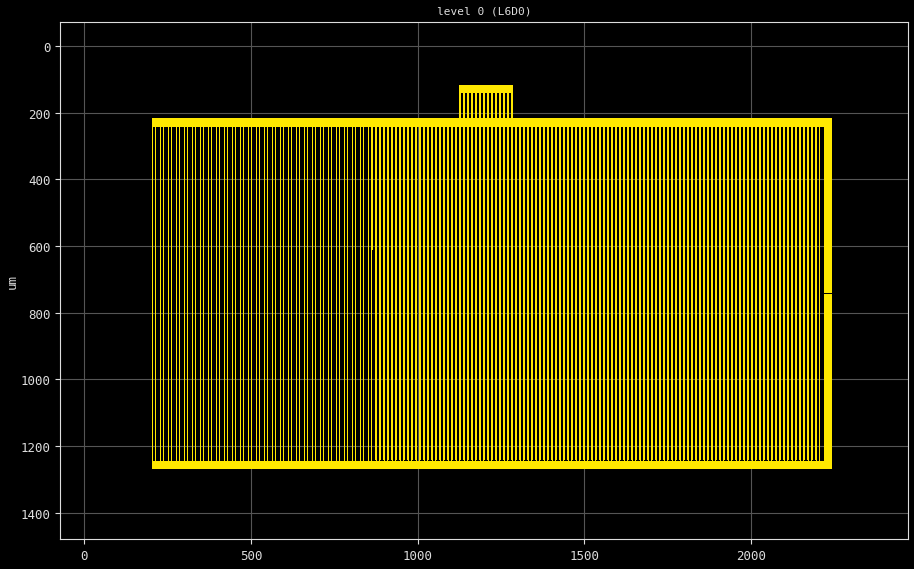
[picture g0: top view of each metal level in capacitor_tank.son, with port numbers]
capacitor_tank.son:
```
FTYP SONPROJ 12 ! Sonnet Project File
VER 14.52
HEADER
LIC caltech1.1.46475
DAT 08/10/2018 02:55:32
BUILT_BY_CREATED dxf 14.52 08/10/2018 02:20:45
BUILT_BY_SAVED xgeom 14.52
MDATE 08/10/2018 02:55:32
HDATE 08/10/2018 02:55:32
ANN Created by dxfgeo, Sonnet Software Inc.
END HEADER
DIM
FREQ MHZ
IND NH
LNG UM
ANG DEG
CON /OH
CAP PF
RES OH
END DIM
CONTROL
ABS
OPTIONS  -d 
SPEED 0
CACHE_ABS 1
TARG_ABS 300
Q_ACC N
END CONTROL
GEO
TMET "Lossless" 0 SUP 0 0 0 0
BMET "Lossless" 0 SUP 0 0 0 0
MET "Unknown_metal" 1 NOR INF 0 0 
BOX 1 2400 1408 512 512 20 0
      0 1 1 0 0 0 0 "Unnamed"
      0 1 1 0 0 0 0 "Unnamed"
TECHLAY METAL L6D0 L6D0 -1 0 
0 0 0 N 0 1 1 100 100 0 0 0 Y
END
END
LORGN 0 1408 U 
NUM 13
0 85 0 N 11 1 1 100 100 0 0 0 Y
TLAYNAM L6D0 INH
1127.95 215.3
1127.95 140.3
1123.95 140.3
1123.95 115.3
1285.95 115.3
1285.95 140.3
1281.95 140.3
1281.95 215.3
1279.95 215.3
1279.95 140.3
1273.95 140.3
1273.95 215.3
1271.95 215.3
1271.95 140.3
1265.95 140.3
1265.95 215.3
1263.95 215.3
1263.95 140.3
1257.95 140.3
1257.95 215.3
1255.95 215.3
1255.95 140.3
1249.95 140.3
1249.95 215.3
1247.95 215.3
1247.95 140.3
1241.95 140.3
1241.95 215.3
1239.95 215.3
1239.95 140.3
1233.95 140.3
1233.95 215.3
1231.95 215.3
1231.95 140.3
1225.95 140.3
1225.95 215.3
1223.95 215.3
1223.95 140.3
1217.95 140.3
1217.95 215.3
1215.95 215.3
1215.95 140.3
1209.95 140.3
1209.95 215.3
1207.95 215.3
1207.95 140.3
1201.95 140.3
1201.95 215.3
1199.95 215.3
1199.95 140.3
1193.95 140.3
1193.95 215.3
1191.95 215.3
1191.95 140.3
1185.95 140.3
1185.95 215.3
1183.95 215.3
1183.95 140.3
1177.95 140.3
1177.95 215.3
1175.95 215.3
1175.95 140.3
1169.95 140.3
1169.95 215.3
1167.95 215.3
1167.95 140.3
1161.95 140.3
1161.95 215.3
1159.95 215.3
1159.95 140.3
1153.95 140.3
1153.95 215.3
1151.95 215.3
1151.95 140.3
1145.95 140.3
1145.95 215.3
1143.95 215.3
1143.95 140.3
1137.95 140.3
1137.95 215.3
1135.95 215.3
1135.95 140.3
1129.95 140.3
1129.95 215.3
1127.95 215.3
END
0 193 0 N 12 1 1 100 100 0 0 0 Y
TLAYNAM L6D0 INH
871.95 1241.8
871.95 241.8
865.95 241.8
865.95 610.6041992
863.95 610.6041992
863.95 241.8
203.95 241.8
203.95 216.8
1123.95 216.8
1123.95 141.8
1125.95 141.8
1125.95 216.8
1131.95 216.8
1131.95 141.8
1133.95 141.8
1133.95 216.8
1139.95 216.8
1139.95 141.8
1141.95 141.8
1141.95 216.8
1147.95 216.8
1147.95 141.8
1149.95 141.8
1149.95 216.8
1155.95 216.8
1155.95 141.8
1157.95 141.8
1157.95 216.8
1163.95 216.8
1163.95 141.8
1165.95 141.8
1165.95 216.8
1171.95 216.8
1171.95 141.8
1173.95 141.8
1173.95 216.8
1179.95 216.8
1179.95 241.8
1177.95 241.8
1177.95 1241.8
1175.95 1241.8
1175.95 241.8
1169.95 241.8
1169.95 1241.8
1167.95 1241.8
1167.95 241.8
1161.95 241.8
1161.95 1241.8
1159.95 1241.8
1159.95 241.8
1153.95 241.8
1153.95 1241.8
1151.95 1241.8
1151.95 241.8
1145.95 241.8
1145.95 1241.8
1143.95 1241.8
1143.95 241.8
1137.95 241.8
1137.95 1241.8
1135.95 1241.8
1135.95 241.8
1129.95 241.8
1129.95 1241.8
1127.95 1241.8
1127.95 241.8
1121.95 241.8
1121.95 1241.8
1119.95 1241.8
1119.95 241.8
1113.95 241.8
1113.95 1241.8
1111.95 1241.8
1111.95 241.8
1105.95 241.8
1105.95 1241.8
1103.95 1241.8
1103.95 241.8
1097.95 241.8
1097.95 1241.8
1095.95 1241.8
1095.95 241.8
1089.95 241.8
1089.95 1241.8
1087.95 1241.8
1087.95 241.8
1081.95 241.8
1081.95 1241.8
1079.95 1241.8
1079.95 241.8
1073.95 241.8
1073.95 1241.8
1071.95 1241.8
1071.95 241.8
1065.95 241.8
1065.95 1241.8
1063.95 1241.8
1063.95 241.8
1057.95 241.8
1057.95 1241.8
1055.95 1241.8
1055.95 241.8
1049.95 241.8
1049.95 1241.8
1047.95 1241.8
1047.95 241.8
1041.95 241.8
1041.95 1241.8
1039.95 1241.8
1039.95 241.8
1033.95 241.8
1033.95 1241.8
1031.95 1241.8
1031.95 241.8
1025.95 241.8
1025.95 1241.8
1023.95 1241.8
1023.95 241.8
1017.95 241.8
1017.95 1241.8
1015.95 1241.8
1015.95 241.8
1009.95 241.8
1009.95 1241.8
1007.95 1241.8
1007.95 241.8
1001.95 241.8
1001.95 1241.8
999.95 1241.8
999.95 241.8
993.95 241.8
993.95 1241.8
991.95 1241.8
991.95 241.8
985.95 241.8
985.95 1241.8
983.95 1241.8
983.95 241.8
977.95 241.8
977.95 1241.8
975.95 1241.8
975.95 241.8
969.95 241.8
969.95 1241.8
967.95 1241.8
967.95 241.8
961.95 241.8
961.95 1241.8
959.95 1241.8
959.95 241.8
953.95 241.8
953.95 1241.8
951.95 1241.8
951.95 241.8
945.95 241.8
945.95 1241.8
943.95 1241.8
943.95 241.8
937.95 241.8
937.95 1241.8
935.95 1241.8
935.95 241.8
929.95 241.8
929.95 1241.8
927.95 1241.8
927.95 241.8
921.95 241.8
921.95 1241.8
919.95 1241.8
919.95 241.8
913.95 241.8
913.95 1241.8
911.95 1241.8
911.95 241.8
905.95 241.8
905.95 1241.8
903.95 1241.8
903.95 241.8
897.95 241.8
897.95 1241.8
895.95 1241.8
895.95 241.8
889.95 241.8
889.95 1241.8
887.95 1241.8
887.95 241.8
881.95 241.8
881.95 1241.8
879.95 1241.8
879.95 241.8
873.95 241.8
873.95 1241.8
871.95 1241.8
END
0 193 0 N 13 1 1 100 100 0 0 0 Y
TLAYNAM L6D0 INH
1183.95 1241.8
1183.95 241.8
1179.95 241.8
1179.95 141.8
1181.95 141.8
1181.95 216.8
1187.95 216.8
1187.95 141.8
1189.95 141.8
1189.95 216.8
1195.95 216.8
1195.95 141.8
1197.95 141.8
1197.95 216.8
1203.95 216.8
1203.95 141.8
1205.95 141.8
1205.95 216.8
1211.95 216.8
1211.95 141.8
1213.95 141.8
1213.95 216.8
1219.95 216.8
1219.95 141.8
1221.95 141.8
1221.95 216.8
1227.95 216.8
1227.95 141.8
1229.95 141.8
1229.95 216.8
1235.95 216.8
1235.95 141.8
1237.95 141.8
1237.95 216.8
1243.95 216.8
1243.95 141.8
1245.95 141.8
1245.95 216.8
1251.95 216.8
1251.95 141.8
1253.95 141.8
1253.95 216.8
1259.95 216.8
1259.95 141.8
1261.95 141.8
1261.95 216.8
1267.95 216.8
1267.95 141.8
1269.95 141.8
1269.95 216.8
1275.95 216.8
1275.95 141.8
1277.95 141.8
1277.95 216.8
1283.95 216.8
1283.95 141.8
1285.95 141.8
1285.95 216.8
1449.95 216.8
1449.95 1241.8
1447.95 1241.8
1447.95 241.8
1441.95 241.8
1441.95 1241.8
1439.95 1241.8
1439.95 241.8
1433.95 241.8
1433.95 1241.8
1431.95 1241.8
1431.95 241.8
1425.95 241.8
1425.95 1241.8
1423.95 1241.8
1423.95 241.8
1417.95 241.8
1417.95 1241.8
1415.95 1241.8
1415.95 241.8
1409.95 241.8
1409.95 1241.8
1407.95 1241.8
1407.95 241.8
1401.95 241.8
1401.95 1241.8
1399.95 1241.8
1399.95 241.8
1393.95 241.8
1393.95 1241.8
1391.95 1241.8
1391.95 241.8
1385.95 241.8
1385.95 1241.8
1383.95 1241.8
1383.95 241.8
1377.95 241.8
1377.95 1241.8
1375.95 1241.8
1375.95 241.8
1369.95 241.8
1369.95 1241.8
1367.95 1241.8
1367.95 241.8
1361.95 241.8
1361.95 1241.8
1359.95 1241.8
1359.95 241.8
1353.95 241.8
1353.95 1241.8
1351.95 1241.8
1351.95 241.8
1345.95 241.8
1345.95 1241.8
1343.95 1241.8
1343.95 241.8
1337.95 241.8
1337.95 1241.8
1335.95 1241.8
1335.95 241.8
1329.95 241.8
1329.95 1241.8
1327.95 1241.8
1327.95 241.8
1321.95 241.8
1321.95 1241.8
1319.95 1241.8
1319.95 241.8
1313.95 241.8
1313.95 1241.8
1311.95 1241.8
1311.95 241.8
1305.95 241.8
1305.95 1241.8
1303.95 1241.8
1303.95 241.8
1297.95 241.8
1297.95 1241.8
1295.95 1241.8
1295.95 241.8
1289.95 241.8
1289.95 1241.8
1287.95 1241.8
1287.95 241.8
1281.95 241.8
1281.95 1241.8
1279.95 1241.8
1279.95 241.8
1273.95 241.8
1273.95 1241.8
1271.95 1241.8
1271.95 241.8
1265.95 241.8
1265.95 1241.8
1263.95 1241.8
1263.95 241.8
1257.95 241.8
1257.95 1241.8
1255.95 1241.8
1255.95 241.8
1249.95 241.8
1249.95 1241.8
1247.95 1241.8
1247.95 241.8
1241.95 241.8
1241.95 1241.8
1239.95 1241.8
1239.95 241.8
1233.95 241.8
1233.95 1241.8
1231.95 1241.8
1231.95 241.8
1225.95 241.8
1225.95 1241.8
1223.95 1241.8
1223.95 241.8
1217.95 241.8
1217.95 1241.8
1215.95 1241.8
1215.95 241.8
1209.95 241.8
1209.95 1241.8
1207.95 1241.8
1207.95 241.8
1201.95 241.8
1201.95 1241.8
1199.95 1241.8
1199.95 241.8
1193.95 241.8
1193.95 1241.8
1191.95 1241.8
1191.95 241.8
1185.95 241.8
1185.95 1241.8
1183.95 1241.8
END
0 193 0 N 14 1 1 100 100 0 0 0 Y
TLAYNAM L6D0 INH
1455.95 1241.8
1455.95 241.8
1449.95 241.8
1449.95 216.8
1831.95 216.8
1831.95 241.8
1825.95 241.8
1825.95 1241.8
1823.95 1241.8
1823.95 241.8
1817.95 241.8
1817.95 1241.8
1815.95 1241.8
1815.95 241.8
1809.95 241.8
1809.95 1241.8
1807.95 1241.8
1807.95 241.8
1801.95 241.8
1801.95 1241.8
1799.95 1241.8
1799.95 241.8
1793.95 241.8
1793.95 1241.8
1791.95 1241.8
1791.95 241.8
1785.95 241.8
1785.95 1241.8
1783.95 1241.8
1783.95 241.8
1777.95 241.8
1777.95 1241.8
1775.95 1241.8
1775.95 241.8
1769.95 241.8
1769.95 1241.8
1767.95 1241.8
1767.95 241.8
1761.95 241.8
1761.95 1241.8
1759.95 1241.8
1759.95 241.8
1753.95 241.8
1753.95 1241.8
1751.95 1241.8
1751.95 241.8
1745.95 241.8
1745.95 1241.8
1743.95 1241.8
1743.95 241.8
1737.95 241.8
1737.95 1241.8
1735.95 1241.8
1735.95 241.8
1729.95 241.8
1729.95 1241.8
1727.95 1241.8
1727.95 241.8
1721.95 241.8
1721.95 1241.8
1719.95 1241.8
1719.95 241.8
1713.95 241.8
1713.95 1241.8
1711.95 1241.8
1711.95 241.8
1705.95 241.8
1705.95 1241.8
1703.95 1241.8
1703.95 241.8
1697.95 241.8
1697.95 1241.8
1695.95 1241.8
1695.95 241.8
1689.95 241.8
1689.95 1241.8
1687.95 1241.8
1687.95 241.8
1681.95 241.8
1681.95 1241.8
1679.95 1241.8
1679.95 241.8
1673.95 241.8
1673.95 1241.8
1671.95 1241.8
1671.95 241.8
1665.95 241.8
1665.95 1241.8
1663.95 1241.8
1663.95 241.8
1657.95 241.8
1657.95 1241.8
1655.95 1241.8
1655.95 241.8
1649.95 241.8
1649.95 1241.8
1647.95 1241.8
1647.95 241.8
1641.95 241.8
1641.95 1241.8
1639.95 1241.8
1639.95 241.8
1633.95 241.8
1633.95 1241.8
1631.95 1241.8
1631.95 241.8
1625.95 241.8
1625.95 1241.8
1623.95 1241.8
1623.95 241.8
1617.95 241.8
1617.95 1241.8
1615.95 1241.8
1615.95 241.8
1609.95 241.8
1609.95 1241.8
1607.95 1241.8
1607.95 241.8
1601.95 241.8
1601.95 1241.8
1599.95 1241.8
1599.95 241.8
1593.95 241.8
1593.95 1241.8
1591.95 1241.8
1591.95 241.8
1585.95 241.8
1585.95 1241.8
1583.95 1241.8
1583.95 241.8
1577.95 241.8
1577.95 1241.8
1575.95 1241.8
1575.95 241.8
1569.95 241.8
1569.95 1241.8
1567.95 1241.8
1567.95 241.8
1561.95 241.8
1561.95 1241.8
1559.95 1241.8
1559.95 241.8
1553.95 241.8
1553.95 1241.8
1551.95 1241.8
1551.95 241.8
1545.95 241.8
1545.95 1241.8
1543.95 1241.8
1543.95 241.8
1537.95 241.8
1537.95 1241.8
1535.95 1241.8
1535.95 241.8
1529.95 241.8
1529.95 1241.8
1527.95 1241.8
1527.95 241.8
1521.95 241.8
1521.95 1241.8
1519.95 1241.8
1519.95 241.8
1513.95 241.8
1513.95 1241.8
1511.95 1241.8
1511.95 241.8
1505.95 241.8
1505.95 1241.8
1503.95 1241.8
1503.95 241.8
1497.95 241.8
1497.95 1241.8
1495.95 1241.8
1495.95 241.8
1489.95 241.8
1489.95 1241.8
1487.95 1241.8
1487.95 241.8
1481.95 241.8
1481.95 1241.8
1479.95 1241.8
1479.95 241.8
1473.95 241.8
1473.95 1241.8
1471.95 1241.8
1471.95 241.8
1465.95 241.8
1465.95 1241.8
1463.95 1241.8
1463.95 241.8
1457.95 241.8
1457.95 1241.8
1455.95 1241.8
END
0 193 0 N 15 1 1 100 100 0 0 0 Y
TLAYNAM L6D0 INH
1831.95 1241.8
1831.95 216.8
2243.45 216.8
2243.45 741.55
2218.45 741.55
2218.45 241.8
2201.95 241.8
2201.95 1241.8
2199.95 1241.8
2199.95 241.8
2193.95 241.8
2193.95 1241.8
2191.95 1241.8
2191.95 241.8
2185.95 241.8
2185.95 1241.8
2183.95 1241.8
2183.95 241.8
2177.95 241.8
2177.95 1241.8
2175.95 1241.8
2175.95 241.8
2169.95 241.8
2169.95 1241.8
2167.95 1241.8
2167.95 241.8
2161.95 241.8
2161.95 1241.8
2159.95 1241.8
2159.95 241.8
2153.95 241.8
2153.95 1241.8
2151.95 1241.8
2151.95 241.8
2145.95 241.8
2145.95 1241.8
2143.95 1241.8
2143.95 241.8
2137.95 241.8
2137.95 1241.8
2135.95 1241.8
2135.95 241.8
2129.95 241.8
2129.95 1241.8
2127.95 1241.8
2127.95 241.8
2121.95 241.8
2121.95 1241.8
2119.95 1241.8
2119.95 241.8
2113.95 241.8
2113.95 1241.8
2111.95 1241.8
2111.95 241.8
2105.95 241.8
2105.95 1241.8
2103.95 1241.8
2103.95 241.8
2097.95 241.8
2097.95 1241.8
2095.95 1241.8
2095.95 241.8
2089.95 241.8
2089.95 1241.8
2087.95 1241.8
2087.95 241.8
2081.95 241.8
2081.95 1241.8
2079.95 1241.8
2079.95 241.8
2073.95 241.8
2073.95 1241.8
2071.95 1241.8
2071.95 241.8
2065.95 241.8
2065.95 1241.8
2063.95 1241.8
2063.95 241.8
2057.95 241.8
2057.95 1241.8
2055.95 1241.8
2055.95 241.8
2049.95 241.8
2049.95 1241.8
2047.95 1241.8
2047.95 241.8
2041.95 241.8
2041.95 1241.8
2039.95 1241.8
2039.95 241.8
2033.95 241.8
2033.95 1241.8
2031.95 1241.8
2031.95 241.8
2025.95 241.8
2025.95 1241.8
2023.95 1241.8
2023.95 241.8
2017.95 241.8
2017.95 1241.8
2015.95 1241.8
2015.95 241.8
2009.95 241.8
2009.95 1241.8
2007.95 1241.8
2007.95 241.8
2001.95 241.8
2001.95 1241.8
1999.95 1241.8
1999.95 241.8
1993.95 241.8
1993.95 1241.8
1991.95 1241.8
1991.95 241.8
1985.95 241.8
1985.95 1241.8
1983.95 1241.8
1983.95 241.8
1977.95 241.8
1977.95 1241.8
1975.95 1241.8
1975.95 241.8
1969.95 241.8
1969.95 1241.8
1967.95 1241.8
1967.95 241.8
1961.95 241.8
1961.95 1241.8
1959.95 1241.8
1959.95 241.8
1953.95 241.8
1953.95 1241.8
1951.95 1241.8
1951.95 241.8
1945.95 241.8
1945.95 1241.8
1943.95 1241.8
1943.95 241.8
1937.95 241.8
1937.95 1241.8
1935.95 1241.8
1935.95 241.8
1929.95 241.8
1929.95 1241.8
1927.95 1241.8
1927.95 241.8
1921.95 241.8
1921.95 1241.8
1919.95 1241.8
1919.95 241.8
1913.95 241.8
1913.95 1241.8
1911.95 1241.8
1911.95 241.8
1905.95 241.8
1905.95 1241.8
1903.95 1241.8
1903.95 241.8
1897.95 241.8
1897.95 1241.8
1895.95 1241.8
1895.95 241.8
1889.95 241.8
1889.95 1241.8
1887.95 1241.8
1887.95 241.8
1881.95 241.8
1881.95 1241.8
1879.95 1241.8
1879.95 241.8
1873.95 241.8
1873.95 1241.8
1871.95 1241.8
1871.95 241.8
1865.95 241.8
1865.95 1241.8
1863.95 1241.8
1863.95 241.8
1857.95 241.8
1857.95 1241.8
1855.95 1241.8
1855.95 241.8
1849.95 241.8
1849.95 1241.8
1847.95 1241.8
1847.95 241.8
1841.95 241.8
1841.95 1241.8
1839.95 1241.8
1839.95 241.8
1833.95 241.8
1833.95 1241.8
1831.95 1241.8
END
0 127 0 N 16 1 1 100 100 0 0 0 Y
TLAYNAM L6D0 INH
203.95 1268.3
203.95 243.3
205.95 243.3
205.95 1243.3
211.95 1243.3
211.95 243.3
213.95 243.3
213.95 1243.3
219.95 1243.3
219.95 243.3
221.95 243.3
221.95 1243.3
227.95 1243.3
227.95 243.3
229.95 243.3
229.95 1243.3
235.95 1243.3
235.95 243.3
237.95 243.3
237.95 1243.3
243.95 1243.3
243.95 243.3
245.95 243.3
245.95 1243.3
251.95 1243.3
251.95 243.3
253.95 243.3
253.95 1243.3
259.95 1243.3
259.95 243.3
261.95 243.3
261.95 1243.3
267.95 1243.3
267.95 243.3
269.95 243.3
269.95 1243.3
275.95 1243.3
275.95 243.3
277.95 243.3
277.95 1243.3
283.95 1243.3
283.95 243.3
285.95 243.3
285.95 1243.3
291.95 1243.3
291.95 243.3
293.95 243.3
293.95 1243.3
299.95 1243.3
299.95 243.3
301.95 243.3
301.95 1243.3
307.95 1243.3
307.95 243.3
309.95 243.3
309.95 1243.3
315.95 1243.3
315.95 243.3
317.95 243.3
317.95 1243.3
323.95 1243.3
323.95 243.3
325.95 243.3
325.95 1243.3
331.95 1243.3
331.95 243.3
333.95 243.3
333.95 1243.3
339.95 1243.3
339.95 243.3
341.95 243.3
341.95 1243.3
347.95 1243.3
347.95 243.3
349.95 243.3
349.95 1243.3
355.95 1243.3
355.95 243.3
357.95 243.3
357.95 1243.3
363.95 1243.3
363.95 243.3
365.95 243.3
365.95 1243.3
371.95 1243.3
371.95 243.3
373.95 243.3
373.95 1243.3
379.95 1243.3
379.95 243.3
381.95 243.3
381.95 1243.3
387.95 1243.3
387.95 243.3
389.95 243.3
389.95 1243.3
395.95 1243.3
395.95 243.3
397.95 243.3
397.95 1243.3
403.95 1243.3
403.95 243.3
405.95 243.3
405.95 1243.3
411.95 1243.3
411.95 243.3
413.95 243.3
413.95 1243.3
419.95 1243.3
419.95 243.3
421.95 243.3
421.95 1243.3
427.95 1243.3
427.95 243.3
429.95 243.3
429.95 1243.3
435.95 1243.3
435.95 243.3
437.95 243.3
437.95 1243.3
443.95 1243.3
443.95 243.3
445.95 243.3
445.95 1243.3
451.95 1243.3
451.95 1268.3
203.95 1268.3
END
0 129 0 N 17 1 1 100 100 0 0 0 Y
TLAYNAM L6D0 INH
451.95 1268.3
451.95 243.3
453.95 243.3
453.95 1243.3
459.95 1243.3
459.95 243.3
461.95 243.3
461.95 1243.3
467.95 1243.3
467.95 243.3
469.95 243.3
469.95 1243.3
475.95 1243.3
475.95 243.3
477.95 243.3
477.95 1243.3
483.95 1243.3
483.95 243.3
485.95 243.3
485.95 1243.3
491.95 1243.3
491.95 243.3
493.95 243.3
493.95 1243.3
499.95 1243.3
499.95 243.3
501.95 243.3
501.95 1243.3
507.95 1243.3
507.95 243.3
509.95 243.3
509.95 1243.3
515.95 1243.3
515.95 243.3
517.95 243.3
517.95 1243.3
523.95 1243.3
523.95 243.3
525.95 243.3
525.95 1243.3
531.95 1243.3
531.95 243.3
533.95 243.3
533.95 1243.3
539.95 1243.3
539.95 243.3
541.95 243.3
541.95 1243.3
547.95 1243.3
547.95 243.3
549.95 243.3
549.95 1243.3
555.95 1243.3
555.95 243.3
557.95 243.3
557.95 1243.3
563.95 1243.3
563.95 243.3
565.95 243.3
565.95 1243.3
571.95 1243.3
571.95 243.3
573.95 243.3
573.95 1243.3
579.95 1243.3
579.95 243.3
581.95 243.3
581.95 1243.3
587.95 1243.3
587.95 243.3
589.95 243.3
589.95 1243.3
595.95 1243.3
595.95 243.3
597.95 243.3
597.95 1243.3
603.95 1243.3
603.95 243.3
605.95 243.3
605.95 1243.3
611.95 1243.3
611.95 243.3
613.95 243.3
613.95 1243.3
619.95 1243.3
619.95 243.3
621.95 243.3
621.95 1243.3
627.95 1243.3
627.95 243.3
629.95 243.3
629.95 1243.3
635.95 1243.3
635.95 243.3
637.95 243.3
637.95 1243.3
643.95 1243.3
643.95 243.3
645.95 243.3
645.95 1243.3
651.95 1243.3
651.95 243.3
653.95 243.3
653.95 1243.3
659.95 1243.3
659.95 243.3
661.95 243.3
661.95 1243.3
667.95 1243.3
667.95 243.3
669.95 243.3
669.95 1243.3
675.95 1243.3
675.95 243.3
677.95 243.3
677.95 1243.3
683.95 1243.3
683.95 243.3
685.95 243.3
685.95 1243.3
691.95 1243.3
691.95 243.3
693.95 243.3
693.95 1243.3
699.95 1243.3
699.95 243.3
701.95 243.3
701.95 1268.3
451.95 1268.3
END
0 129 0 N 18 1 1 100 100 0 0 0 Y
TLAYNAM L6D0 INH
701.95 1268.3
701.95 1243.3
707.95 1243.3
707.95 243.3
709.95 243.3
709.95 1243.3
715.95 1243.3
715.95 243.3
717.95 243.3
717.95 1243.3
723.95 1243.3
723.95 243.3
725.95 243.3
725.95 1243.3
731.95 1243.3
731.95 243.3
733.95 243.3
733.95 1243.3
739.95 1243.3
739.95 243.3
741.95 243.3
741.95 1243.3
747.95 1243.3
747.95 243.3
749.95 243.3
749.95 1243.3
755.95 1243.3
755.95 243.3
757.95 243.3
757.95 1243.3
763.95 1243.3
763.95 243.3
765.95 243.3
765.95 1243.3
771.95 1243.3
771.95 243.3
773.95 243.3
773.95 1243.3
779.95 1243.3
779.95 243.3
781.95 243.3
781.95 1243.3
787.95 1243.3
787.95 243.3
789.95 243.3
789.95 1243.3
795.95 1243.3
795.95 243.3
797.95 243.3
797.95 1243.3
803.95 1243.3
803.95 243.3
805.95 243.3
805.95 1243.3
811.95 1243.3
811.95 243.3
813.95 243.3
813.95 1243.3
819.95 1243.3
819.95 243.3
821.95 243.3
821.95 1243.3
827.95 1243.3
827.95 243.3
829.95 243.3
829.95 1243.3
835.95 1243.3
835.95 243.3
837.95 243.3
837.95 1243.3
843.95 1243.3
843.95 243.3
845.95 243.3
845.95 1243.3
851.95 1243.3
851.95 243.3
853.95 243.3
853.95 1243.3
859.95 1243.3
859.95 243.3
861.95 243.3
861.95 1243.3
867.95 1243.3
867.95 243.3
869.95 243.3
869.95 1243.3
875.95 1243.3
875.95 243.3
877.95 243.3
877.95 1243.3
883.95 1243.3
883.95 243.3
885.95 243.3
885.95 1243.3
891.95 1243.3
891.95 243.3
893.95 243.3
893.95 1243.3
899.95 1243.3
899.95 243.3
901.95 243.3
901.95 1243.3
907.95 1243.3
907.95 243.3
909.95 243.3
909.95 1243.3
915.95 1243.3
915.95 243.3
917.95 243.3
917.95 1243.3
923.95 1243.3
923.95 243.3
925.95 243.3
925.95 1243.3
931.95 1243.3
931.95 243.3
933.95 243.3
933.95 1243.3
939.95 1243.3
939.95 243.3
941.95 243.3
941.95 1243.3
947.95 1243.3
947.95 243.3
949.95 243.3
949.95 1243.3
955.95 1243.3
955.95 1268.3
701.95 1268.3
END
0 129 0 N 19 1 1 100 100 0 0 0 Y
TLAYNAM L6D0 INH
955.95 1268.3
955.95 243.3
957.95 243.3
957.95 1243.3
963.95 1243.3
963.95 243.3
965.95 243.3
965.95 1243.3
971.95 1243.3
971.95 243.3
973.95 243.3
973.95 1243.3
979.95 1243.3
979.95 243.3
981.95 243.3
981.95 1243.3
987.95 1243.3
987.95 243.3
989.95 243.3
989.95 1243.3
995.95 1243.3
995.95 243.3
997.95 243.3
997.95 1243.3
1003.95 1243.3
1003.95 243.3
1005.95 243.3
1005.95 1243.3
1011.95 1243.3
1011.95 243.3
1013.95 243.3
1013.95 1243.3
1019.95 1243.3
1019.95 243.3
1021.95 243.3
1021.95 1243.3
1027.95 1243.3
1027.95 243.3
1029.95 243.3
1029.95 1243.3
1035.95 1243.3
1035.95 243.3
1037.95 243.3
1037.95 1243.3
1043.95 1243.3
1043.95 243.3
1045.95 243.3
1045.95 1243.3
1051.95 1243.3
1051.95 243.3
1053.95 243.3
1053.95 1243.3
1059.95 1243.3
1059.95 243.3
1061.95 243.3
1061.95 1243.3
1067.95 1243.3
1067.95 243.3
1069.95 243.3
1069.95 1243.3
1075.95 1243.3
1075.95 243.3
1077.95 243.3
1077.95 1243.3
1083.95 1243.3
1083.95 243.3
1085.95 243.3
1085.95 1243.3
1091.95 1243.3
1091.95 243.3
1093.95 243.3
1093.95 1243.3
1099.95 1243.3
1099.95 243.3
1101.95 243.3
1101.95 1243.3
1107.95 1243.3
1107.95 243.3
1109.95 243.3
1109.95 1243.3
1115.95 1243.3
1115.95 243.3
1117.95 243.3
1117.95 1243.3
1123.95 1243.3
1123.95 243.3
1125.95 243.3
1125.95 1243.3
1131.95 1243.3
1131.95 243.3
1133.95 243.3
1133.95 1243.3
1139.95 1243.3
1139.95 243.3
1141.95 243.3
1141.95 1243.3
1147.95 1243.3
1147.95 243.3
1149.95 243.3
1149.95 1243.3
1155.95 1243.3
1155.95 243.3
1157.95 243.3
1157.95 1243.3
1163.95 1243.3
1163.95 243.3
1165.95 243.3
1165.95 1243.3
1171.95 1243.3
1171.95 243.3
1173.95 243.3
1173.95 1243.3
1179.95 1243.3
1179.95 243.3
1181.95 243.3
1181.95 1243.3
1187.95 1243.3
1187.95 243.3
1189.95 243.3
1189.95 1243.3
1195.95 1243.3
1195.95 243.3
1197.95 243.3
1197.95 1243.3
1203.95 1243.3
1203.95 243.3
1205.95 243.3
1205.95 1268.3
955.95 1268.3
END
0 129 0 N 20 1 1 100 100 0 0 0 Y
TLAYNAM L6D0 INH
1205.95 1268.3
1205.95 1243.3
1211.95 1243.3
1211.95 243.3
1213.95 243.3
1213.95 1243.3
1219.95 1243.3
1219.95 243.3
1221.95 243.3
1221.95 1243.3
1227.95 1243.3
1227.95 243.3
1229.95 243.3
1229.95 1243.3
1235.95 1243.3
1235.95 243.3
1237.95 243.3
1237.95 1243.3
1243.95 1243.3
1243.95 243.3
1245.95 243.3
1245.95 1243.3
1251.95 1243.3
1251.95 243.3
1253.95 243.3
1253.95 1243.3
1259.95 1243.3
1259.95 243.3
1261.95 243.3
1261.95 1243.3
1267.95 1243.3
1267.95 243.3
1269.95 243.3
1269.95 1243.3
1275.95 1243.3
1275.95 243.3
1277.95 243.3
1277.95 1243.3
1283.95 1243.3
1283.95 243.3
1285.95 243.3
1285.95 1243.3
1291.95 1243.3
1291.95 243.3
1293.95 243.3
1293.95 1243.3
1299.95 1243.3
1299.95 243.3
1301.95 243.3
1301.95 1243.3
1307.95 1243.3
1307.95 243.3
1309.95 243.3
1309.95 1243.3
1315.95 1243.3
1315.95 243.3
1317.95 243.3
1317.95 1243.3
1323.95 1243.3
1323.95 243.3
1325.95 243.3
1325.95 1243.3
1331.95 1243.3
1331.95 243.3
1333.95 243.3
1333.95 1243.3
1339.95 1243.3
1339.95 243.3
1341.95 243.3
1341.95 1243.3
1347.95 1243.3
1347.95 243.3
1349.95 243.3
1349.95 1243.3
1355.95 1243.3
1355.95 243.3
1357.95 243.3
1357.95 1243.3
1363.95 1243.3
1363.95 243.3
1365.95 243.3
1365.95 1243.3
1371.95 1243.3
1371.95 243.3
1373.95 243.3
1373.95 1243.3
1379.95 1243.3
1379.95 243.3
1381.95 243.3
1381.95 1243.3
1387.95 1243.3
1387.95 243.3
1389.95 243.3
1389.95 1243.3
1395.95 1243.3
1395.95 243.3
1397.95 243.3
1397.95 1243.3
1403.95 1243.3
1403.95 243.3
1405.95 243.3
1405.95 1243.3
1411.95 1243.3
1411.95 243.3
1413.95 243.3
1413.95 1243.3
1419.95 1243.3
1419.95 243.3
1421.95 243.3
1421.95 1243.3
1427.95 1243.3
1427.95 243.3
1429.95 243.3
1429.95 1243.3
1435.95 1243.3
1435.95 243.3
1437.95 243.3
1437.95 1243.3
1443.95 1243.3
1443.95 243.3
1445.95 243.3
1445.95 1243.3
1451.95 1243.3
1451.95 243.3
1453.95 243.3
1453.95 1243.3
1459.95 1243.3
1459.95 1268.3
1205.95 1268.3
END
0 129 0 N 21 1 1 100 100 0 0 0 Y
TLAYNAM L6D0 INH
1459.95 1268.3
1459.95 243.3
1461.95 243.3
1461.95 1243.3
1467.95 1243.3
1467.95 243.3
1469.95 243.3
1469.95 1243.3
1475.95 1243.3
1475.95 243.3
1477.95 243.3
1477.95 1243.3
1483.95 1243.3
1483.95 243.3
1485.95 243.3
1485.95 1243.3
1491.95 1243.3
1491.95 243.3
1493.95 243.3
1493.95 1243.3
1499.95 1243.3
1499.95 243.3
1501.95 243.3
1501.95 1243.3
1507.95 1243.3
1507.95 243.3
1509.95 243.3
1509.95 1243.3
1515.95 1243.3
1515.95 243.3
1517.95 243.3
1517.95 1243.3
1523.95 1243.3
1523.95 243.3
1525.95 243.3
1525.95 1243.3
1531.95 1243.3
1531.95 243.3
1533.95 243.3
1533.95 1243.3
1539.95 1243.3
1539.95 243.3
1541.95 243.3
1541.95 1243.3
1547.95 1243.3
1547.95 243.3
1549.95 243.3
1549.95 1243.3
1555.95 1243.3
1555.95 243.3
1557.95 243.3
1557.95 1243.3
1563.95 1243.3
1563.95 243.3
1565.95 243.3
1565.95 1243.3
1571.95 1243.3
1571.95 243.3
1573.95 243.3
1573.95 1243.3
1579.95 1243.3
1579.95 243.3
1581.95 243.3
1581.95 1243.3
1587.95 1243.3
1587.95 243.3
1589.95 243.3
1589.95 1243.3
1595.95 1243.3
1595.95 243.3
1597.95 243.3
1597.95 1243.3
1603.95 1243.3
1603.95 243.3
1605.95 243.3
1605.95 1243.3
1611.95 1243.3
1611.95 243.3
1613.95 243.3
1613.95 1243.3
1619.95 1243.3
1619.95 243.3
1621.95 243.3
1621.95 1243.3
1627.95 1243.3
1627.95 243.3
1629.95 243.3
1629.95 1243.3
1635.95 1243.3
1635.95 243.3
1637.95 243.3
1637.95 1243.3
1643.95 1243.3
1643.95 243.3
1645.95 243.3
1645.95 1243.3
1651.95 1243.3
1651.95 243.3
1653.95 243.3
1653.95 1243.3
1659.95 1243.3
1659.95 243.3
1661.95 243.3
1661.95 1243.3
1667.95 1243.3
1667.95 243.3
1669.95 243.3
1669.95 1243.3
1675.95 1243.3
1675.95 243.3
1677.95 243.3
1677.95 1243.3
1683.95 1243.3
1683.95 243.3
1685.95 243.3
1685.95 1243.3
1691.95 1243.3
1691.95 243.3
1693.95 243.3
1693.95 1243.3
1699.95 1243.3
1699.95 243.3
1701.95 243.3
1701.95 1243.3
1707.95 1243.3
1707.95 243.3
1709.95 243.3
1709.95 1268.3
1459.95 1268.3
END
0 129 0 N 22 1 1 100 100 0 0 0 Y
TLAYNAM L6D0 INH
1709.95 1268.3
1709.95 1243.3
1715.95 1243.3
1715.95 243.3
1717.95 243.3
1717.95 1243.3
1723.95 1243.3
1723.95 243.3
1725.95 243.3
1725.95 1243.3
1731.95 1243.3
1731.95 243.3
1733.95 243.3
1733.95 1243.3
1739.95 1243.3
1739.95 243.3
1741.95 243.3
1741.95 1243.3
1747.95 1243.3
1747.95 243.3
1749.95 243.3
1749.95 1243.3
1755.95 1243.3
1755.95 243.3
1757.95 243.3
1757.95 1243.3
1763.95 1243.3
1763.95 243.3
1765.95 243.3
1765.95 1243.3
1771.95 1243.3
1771.95 243.3
1773.95 243.3
1773.95 1243.3
1779.95 1243.3
1779.95 243.3
1781.95 243.3
1781.95 1243.3
1787.95 1243.3
1787.95 243.3
1789.95 243.3
1789.95 1243.3
1795.95 1243.3
1795.95 243.3
1797.95 243.3
1797.95 1243.3
1803.95 1243.3
1803.95 243.3
1805.95 243.3
1805.95 1243.3
1811.95 1243.3
1811.95 243.3
1813.95 243.3
1813.95 1243.3
1819.95 1243.3
1819.95 243.3
1821.95 243.3
1821.95 1243.3
1827.95 1243.3
1827.95 243.3
1829.95 243.3
1829.95 1243.3
1835.95 1243.3
1835.95 243.3
1837.95 243.3
1837.95 1243.3
1843.95 1243.3
1843.95 243.3
1845.95 243.3
1845.95 1243.3
1851.95 1243.3
1851.95 243.3
1853.95 243.3
1853.95 1243.3
1859.95 1243.3
1859.95 243.3
1861.95 243.3
1861.95 1243.3
1867.95 1243.3
1867.95 243.3
1869.95 243.3
1869.95 1243.3
1875.95 1243.3
1875.95 243.3
1877.95 243.3
1877.95 1243.3
1883.95 1243.3
1883.95 243.3
1885.95 243.3
1885.95 1243.3
1891.95 1243.3
1891.95 243.3
1893.95 243.3
1893.95 1243.3
1899.95 1243.3
1899.95 243.3
1901.95 243.3
1901.95 1243.3
1907.95 1243.3
1907.95 243.3
1909.95 243.3
1909.95 1243.3
1915.95 1243.3
1915.95 243.3
1917.95 243.3
1917.95 1243.3
1923.95 1243.3
1923.95 243.3
1925.95 243.3
1925.95 1243.3
1931.95 1243.3
1931.95 243.3
1933.95 243.3
1933.95 1243.3
1939.95 1243.3
1939.95 243.3
1941.95 243.3
1941.95 1243.3
1947.95 1243.3
1947.95 243.3
1949.95 243.3
1949.95 1243.3
1955.95 1243.3
1955.95 243.3
1957.95 243.3
1957.95 1243.3
1963.95 1243.3
1963.95 1268.3
1709.95 1268.3
END
0 129 0 N 23 1 1 100 100 0 0 0 Y
TLAYNAM L6D0 INH
1963.95 1268.3
1963.95 243.3
1965.95 243.3
1965.95 1243.3
1971.95 1243.3
1971.95 243.3
1973.95 243.3
1973.95 1243.3
1979.95 1243.3
1979.95 243.3
1981.95 243.3
1981.95 1243.3
1987.95 1243.3
1987.95 243.3
1989.95 243.3
1989.95 1243.3
1995.95 1243.3
1995.95 243.3
1997.95 243.3
1997.95 1243.3
2003.95 1243.3
2003.95 243.3
2005.95 243.3
2005.95 1243.3
2011.95 1243.3
2011.95 243.3
2013.95 243.3
2013.95 1243.3
2019.95 1243.3
2019.95 243.3
2021.95 243.3
2021.95 1243.3
2027.95 1243.3
2027.95 243.3
2029.95 243.3
2029.95 1243.3
2035.95 1243.3
2035.95 243.3
2037.95 243.3
2037.95 1243.3
2043.95 1243.3
2043.95 243.3
2045.95 243.3
2045.95 1243.3
2051.95 1243.3
2051.95 243.3
2053.95 243.3
2053.95 1243.3
2059.95 1243.3
2059.95 243.3
2061.95 243.3
2061.95 1243.3
2067.95 1243.3
2067.95 243.3
2069.95 243.3
2069.95 1243.3
2075.95 1243.3
2075.95 243.3
2077.95 243.3
2077.95 1243.3
2083.95 1243.3
2083.95 243.3
2085.95 243.3
2085.95 1243.3
2091.95 1243.3
2091.95 243.3
2093.95 243.3
2093.95 1243.3
2099.95 1243.3
2099.95 243.3
2101.95 243.3
2101.95 1243.3
2107.95 1243.3
2107.95 243.3
2109.95 243.3
2109.95 1243.3
2115.95 1243.3
2115.95 243.3
2117.95 243.3
2117.95 1243.3
2123.95 1243.3
2123.95 243.3
2125.95 243.3
2125.95 1243.3
2131.95 1243.3
2131.95 243.3
2133.95 243.3
2133.95 1243.3
2139.95 1243.3
2139.95 243.3
2141.95 243.3
2141.95 1243.3
2147.95 1243.3
2147.95 243.3
2149.95 243.3
2149.95 1243.3
2155.95 1243.3
2155.95 243.3
2157.95 243.3
2157.95 1243.3
2163.95 1243.3
2163.95 243.3
2165.95 243.3
2165.95 1243.3
2171.95 1243.3
2171.95 243.3
2173.95 243.3
2173.95 1243.3
2179.95 1243.3
2179.95 243.3
2181.95 243.3
2181.95 1243.3
2187.95 1243.3
2187.95 243.3
2189.95 243.3
2189.95 1243.3
2195.95 1243.3
2195.95 243.3
2197.95 243.3
2197.95 1243.3
2203.95 1243.3
2203.95 243.3
2205.95 243.3
2205.95 1243.3
2218.45 1243.3
2218.45 743.55
2243.45 743.55
2243.45 1268.3
1963.95 1268.3
END
END GEO
OPT
MAX 100
VARS
END
END OPT
VARSWP
END VARSWP
QSG
IMPORT YES
EXTRA_METAL NO
UNITS NO
ALIGN NO
REF NO
VIEW_RES NO
METALS NO
USED YES
END QSG
```
